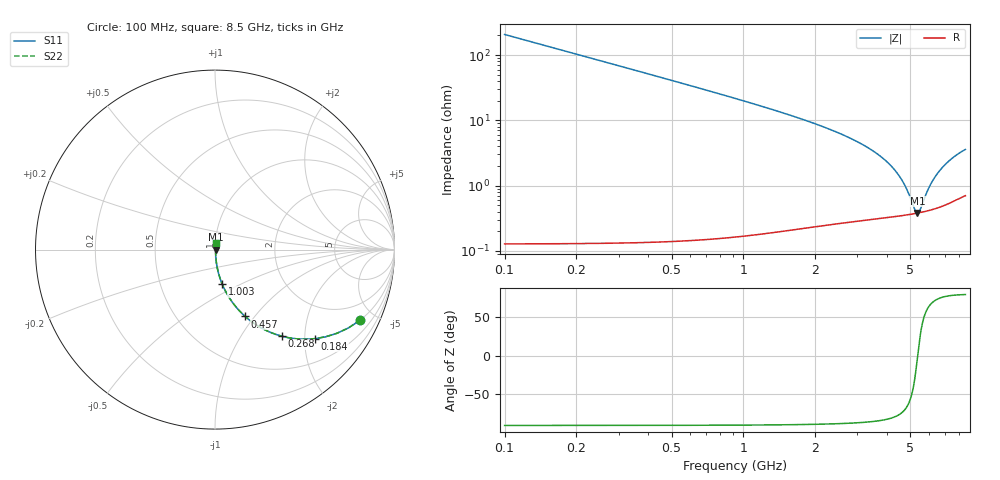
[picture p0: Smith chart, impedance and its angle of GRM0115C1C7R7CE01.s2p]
!Murata Part Number: GRM0115C1C7R7CE01
!These Parameters are Measured in Series Mode Connection
!Data Generated on Mar 30, 2021
!  o--ll--o
!Port1  Port2
!  o------o
!Operation Temp=25[degC], DC Bias Voltage=0[V]
!Freq. Start=100[MHz] Stop=9[GHz] 401[Steps]
# Hz S RI R 50
!Freq.(Hz) S11(Real) S11(Imag) S21(Real) S21(Imag) S12(Real) S12(Imag) S22(Real) S22(Imag)
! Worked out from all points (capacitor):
!   401 points, 100 MHz to 8.5 GHz, reference 50 ohm
!   read as one part in series: C = 7.7 pF near 142 MHz
!   lowest |Z| = 379 mohm at 5.35 GHz (marker M1)
!   series resonance near 5.365 GHz, so ESL is about 110 pH
!   S11 on the Smith chart (normalised r, x): 100 MHz: 1.00, -4.13; 184 MHz: 1.00, -2.24; 268 MHz: 1.00, -1.54; 457 MHz: 1.00, -0.90; 1.003 GHz: 1.00, -0.40; 8.5 GHz: 1.01, +0.07
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1e8  0.8101 -0.3919  0.1899 0.3919  0.1899 0.3919  0.8101 -0.3919
1.84e8  0.5572 -0.4961  0.4428 0.4961  0.4428 0.4961  0.5572 -0.4961
2.68e8  0.3719 -0.4825  0.6281 0.4825  0.6281 0.4825  0.3719 -0.4825
3.52e8  0.2551 -0.4348  0.7449 0.4348  0.7449 0.4348  0.2551 -0.4348
4.57e8  0.1683 -0.3726  0.8317 0.3726  0.8317 0.3726  0.1683 -0.3726
6.67e8  0.086 -0.278  0.914 0.278  0.914 0.278  0.086 -0.278
1.003e9  0.0393 -0.1901  0.9607 0.1901  0.9607 0.1901  0.0393 -0.1901
1.507e9  0.0175 -0.1232  0.9825 0.1232  0.9825 0.1232  0.0175 -0.1232
2.914e9  0.00522 -0.0491  0.9948 0.0491  0.9948 0.0491  0.00522 -0.0491
3.733e9  0.00391 -0.0281  0.9961 0.0281  0.9961 0.0281  0.00391 -0.0281
4.3e9  0.00362 -0.0169  0.9964 0.0169  0.9964 0.0169  0.00362 -0.0169
4.699e9  0.00358 -0.0101  0.9964 0.0101  0.9964 0.0101  0.00358 -0.0101
5.224e9  0.00372 -0.00202  0.9963 0.00202  0.9963 0.00202  0.00372 -0.00202
5.35e9  0.00377 -0.000215  0.9962 0.000215  0.9962 0.000215  0.00377 -0.000215
5.476e9  0.00384 0.00155  0.9962 -0.00155  0.9962 -0.00155  0.00384 0.00155
5.707e9  0.00398 0.00468  0.996 -0.00468  0.996 -0.00468  0.00398 0.00468
5.98e9  0.0042 0.00823  0.9958 -0.00823  0.9958 -0.00823  0.0042 0.00823
6.295e9  0.0045 0.0121  0.9955 -0.0121  0.9955 -0.0121  0.0045 0.0121
6.673e9  0.00495 0.0166  0.9951 -0.0166  0.9951 -0.0166  0.00495 0.0166
7.114e9  0.00559 0.0215  0.9944 -0.0215  0.9944 -0.0215  0.00559 0.0215
7.765e9  0.00675 0.0281  0.9933 -0.0281  0.9933 -0.0281  0.00675 0.0281
8.5e9  0.00815 0.0346  0.9918 -0.0346  0.9918 -0.0346  0.00815 0.0346
